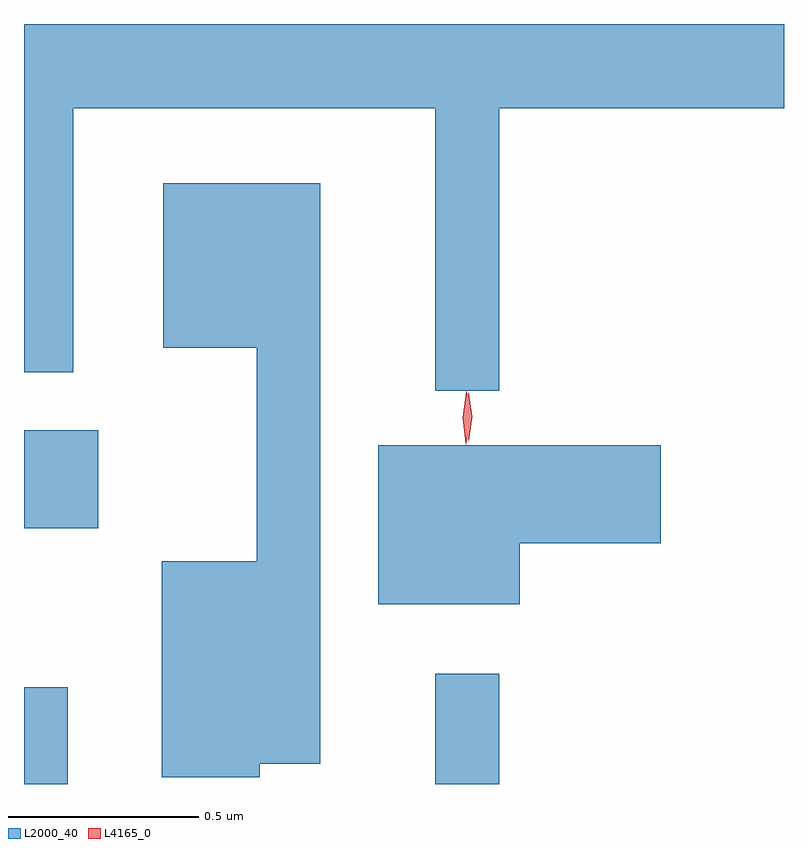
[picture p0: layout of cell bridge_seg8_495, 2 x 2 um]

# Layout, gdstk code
import gdstk
lib = gdstk.Library(unit=1e-6, precision=1e-09)
def R(c, l, rs):  # rectangles x0, y0, x1, y1
    for r in rs: c.add(gdstk.rectangle(r[:2], r[2:], *l))
def P(c, l, *ps):  # polygons
    for p in ps: c.add(gdstk.Polygon(p, *l))
L2000_40 = (2000, 40)
L4165_0 = (4165, 0)

bridge_seg8_495 = lib.new_cell('bridge_seg8_495')
R(bridge_seg8_495, L2000_40, [(292.629,1903.458,292.744,1903.713), (293.711,1903.458,293.879,1903.748), (292.629,1904.131,292.824,1904.389)])
P(bridge_seg8_495, L2000_40, [(293.879,1905.236),(294.629,1905.236),(294.629,1905.458),(292.629,1905.458),(292.629,1904.541),(292.759,1904.541),(292.759,1905.236),(293.711,1905.236),(293.711,1904.493),(293.879,1904.493)],
  [(293.249,1903.511),(293.409,1903.511),(293.409,1905.039),(292.996,1905.039),(292.996,1904.606),(293.241,1904.606),(293.241,1904.044),(292.991,1904.044),(292.991,1903.476),(293.249,1903.476)],
  [(293.934,1904.091),(294.304,1904.091),(294.304,1904.349),(293.561,1904.349),(293.561,1903.931),(293.934,1903.931)])
P(bridge_seg8_495, L4165_0, [(293.792,1904.354),(293.792,1904.354),(293.783,1904.422),(293.793,1904.49),(293.794,1904.49),(293.794,1904.49),(293.803,1904.422),(293.793,1904.354)],
  [(293.799,1904.36),(293.789,1904.424),(293.798,1904.486),(293.799,1904.487),(293.8,1904.486),(293.809,1904.424),(293.8,1904.36),(293.8,1904.36)])

lib.write_gds('bridge_seg8_495.gds')
